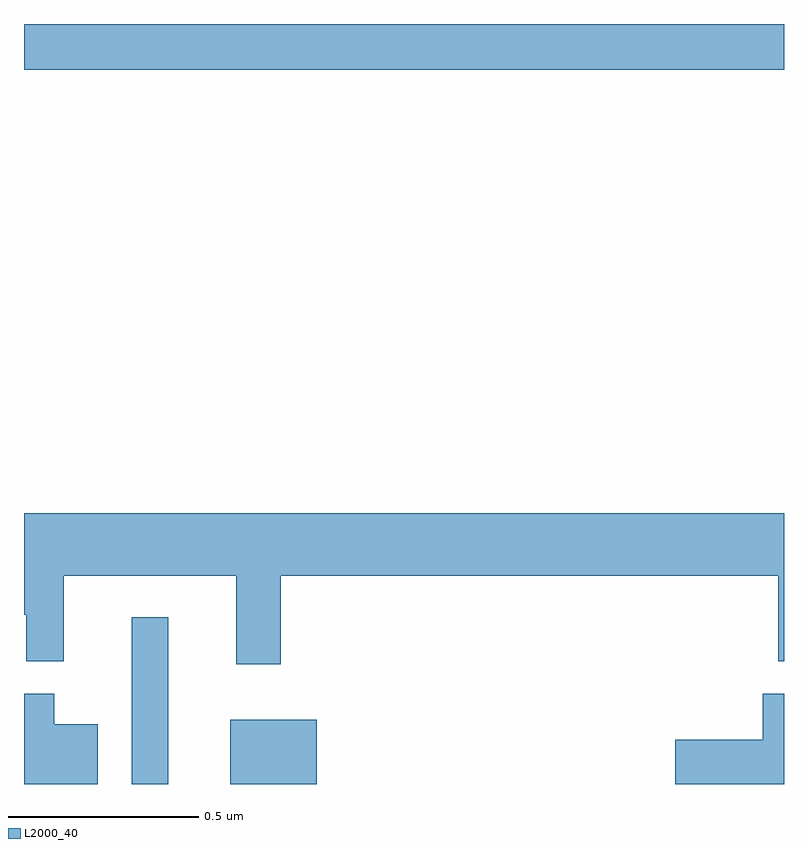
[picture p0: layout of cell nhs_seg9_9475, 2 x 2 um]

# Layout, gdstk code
import gdstk
lib = gdstk.Library(unit=1e-6, precision=1e-09)
def R(c, l, rs):  # rectangles x0, y0, x1, y1
    for r in rs: c.add(gdstk.rectangle(r[:2], r[2:], *l))
def P(c, l, *ps):  # polygons
    for p in ps: c.add(gdstk.Polygon(p, *l))
L2000_40 = (2000, 40)

nhs_seg9_9475 = lib.new_cell('nhs_seg9_9475')
R(nhs_seg9_9475, L2000_40, [(230.283,1234.5,230.38,1234.939), (230.543,1234.5,230.77,1234.669), (230,1236.38,232,1236.5)])
P(nhs_seg9_9475, L2000_40, [(230.675,1235.048),(231.985,1235.048),(231.985,1234.823),(232,1234.823),(232,1235.212),(230,1235.212),(230,1234.945),(230.006,1234.945),(230.006,1234.823),(230.105,1234.823),(230.105,1235.048),(230.558,1235.048),(230.558,1234.815),(230.675,1234.815)],
  [(230.194,1234.657),(230.08,1234.657),(230.08,1234.738),(230,1234.738),(230,1234.5),(230.194,1234.5)],
  [(232,1234.738),(231.944,1234.738),(231.944,1234.617),(231.714,1234.617),(231.714,1234.5),(232,1234.5)])

lib.write_gds('nhs_seg9_9475.gds')
